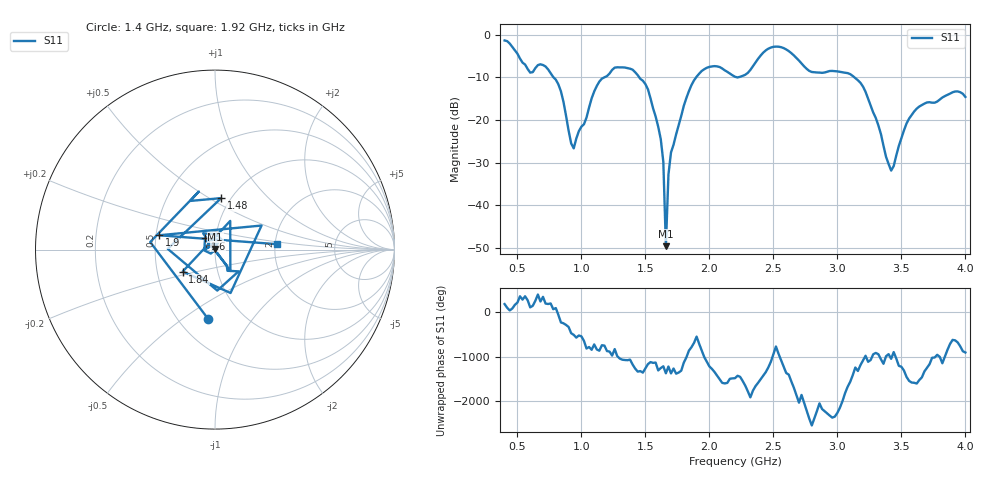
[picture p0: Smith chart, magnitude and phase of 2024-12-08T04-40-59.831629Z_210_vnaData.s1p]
!Created with skrf (http://scikit-rf.org).
# Hz S RI R 50.0
!freq ReS11 ImS11
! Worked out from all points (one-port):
!   181 points, 400 MHz to 4 GHz, reference 50 ohm
!   lowest |S11| = -49.6 dB at 1.66 GHz (marker M1), VSWR 1.01, Z = 50.1 + j0.306 ohm
!   |S11| at or under -10 dB: 782.3 MHz to 1.179 GHz (396.8 MHz wide, 40.5 % of centre); 1.452 GHz to 1.896 GHz (444.1 MHz wide, 26.5 % of centre); 3.133 GHz to end of sweep (the widest 3 of 4)
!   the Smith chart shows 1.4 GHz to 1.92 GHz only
!   S11 on the Smith chart (normalised r, x): 1.4 GHz: 0.69, -0.63; 1.48 GHz: 0.90, +0.57; 1.6 GHz: 0.89, +0.11; 1.84 GHz: 0.68, -0.17; 1.9 GHz: 0.52, +0.09; 1.92 GHz: 2.06, +0.14
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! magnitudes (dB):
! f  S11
! 400 MHz  -1.3
! 600 MHz  -8.9
! 720 MHz  -7.5
! 860 MHz  -15.8
! 940 MHz  -26.7
! 1.12 GHz  -12.0
! 1.3 GHz  -7.7
! 1.4 GHz  -8.2
! 1.48 GHz  -10.8
! 1.6 GHz  -21.6
! 1.64 GHz  -29.8
! 1.66 GHz  -49.6
! 1.68 GHz  -32.8
! 1.7 GHz  -27.6
! 1.76 GHz  -21.3
! 1.84 GHz  -13.2
! 1.9 GHz  -9.8
! 1.92 GHz  -9.1
! 2.2 GHz  -9.9
! 2.48 GHz  -3.0
! 2.66 GHz  -4.9
! 2.8 GHz  -8.7
! 3.1 GHz  -9.2
! 3.22 GHz  -13.4
! 3.42 GHz  -31.9
! 3.56 GHz  -19.7
! 3.9 GHz  -13.5
! 4 GHz  -14.6
